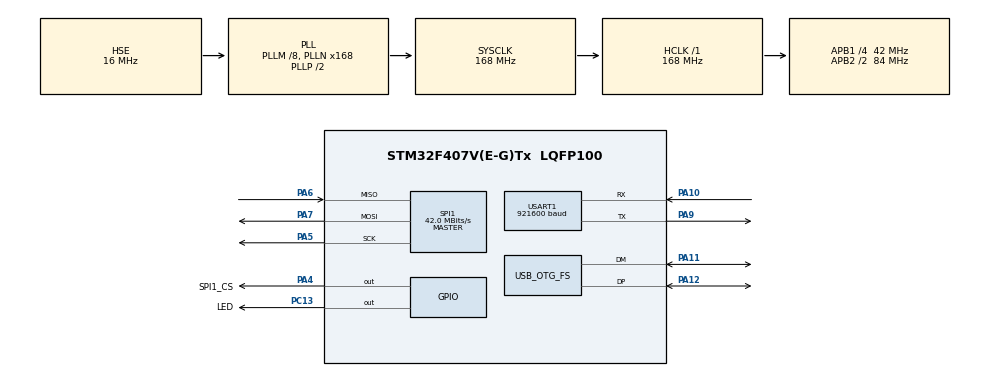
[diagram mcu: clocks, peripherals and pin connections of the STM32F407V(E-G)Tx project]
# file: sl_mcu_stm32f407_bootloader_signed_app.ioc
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Mcu.Family=STM32F4
Mcu.Name=STM32F407V(E-G)Tx
Mcu.Package=LQFP100
NVIC.OTG_FS_IRQn=true\:0\:0\:false\:false\:true\:true\:true\:true
NVIC.PriorityGroup=NVIC_PRIORITYGROUP_4
PA10.Mode=Asynchronous
PA10.Signal=USART1_RX
PA11.Mode=Device_Only
PA11.Signal=USB_OTG_FS_DM
PA12.Mode=Device_Only
PA12.Signal=USB_OTG_FS_DP
PA13.Mode=Trace_Asynchronous_SW
PA13.Signal=SYS_JTMS-SWDIO
PA14.Mode=Trace_Asynchronous_SW
PA14.Signal=SYS_JTCK-SWCLK
PA4.GPIO_Label=SPI1_CS
PA4.PinState=GPIO_PIN_SET
PA4.Signal=GPIO_Output
PA5.Mode=Full_Duplex_Master
PA5.Signal=SPI1_SCK
PA6.Mode=Full_Duplex_Master
PA6.Signal=SPI1_MISO
PA7.Mode=Full_Duplex_Master
PA7.Signal=SPI1_MOSI
PA9.Mode=Asynchronous
PA9.Signal=USART1_TX
PB3.Mode=Trace_Asynchronous_SW
PB3.Signal=SYS_JTDO-SWO
PC13-ANTI_TAMP.GPIO_Label=LED
PC13-ANTI_TAMP.GPIO_ModeDefaultOutputPP=GPIO_MODE_OUTPUT_OD
PC13-ANTI_TAMP.GPIO_PuPd=GPIO_NOPULL
PC13-ANTI_TAMP.PinState=GPIO_PIN_SET
PC13-ANTI_TAMP.Signal=GPIO_Output
PH0-OSC_IN.Mode=HSE-External-Oscillator
PH0-OSC_IN.Signal=RCC_OSC_IN
PH1-OSC_OUT.Mode=HSE-External-Oscillator
PH1-OSC_OUT.Signal=RCC_OSC_OUT
ProjectManager.HeapSize=0x200
ProjectManager.StackSize=0x400
ProjectManager.TargetToolchain=STM32CubeIDE
RCC.48MHZClocksFreq_Value=48000000
RCC.AHBFreq_Value=168000000
RCC.APB1CLKDivider=RCC_HCLK_DIV4
RCC.APB1Freq_Value=42000000
RCC.APB1TimFreq_Value=84000000
RCC.APB2CLKDivider=RCC_HCLK_DIV2
RCC.APB2Freq_Value=84000000
RCC.APB2TimFreq_Value=168000000
RCC.CortexFreq_Value=168000000
RCC.HCLKFreq_Value=168000000
RCC.HSE_VALUE=16000000
RCC.HSI_VALUE=16000000
RCC.LSE_VALUE=32768
RCC.PLLM=8
RCC.PLLN=168
RCC.PLLQ=7
RCC.SYSCLKFreq_VALUE=168000000
RCC.SYSCLKSource=RCC_SYSCLKSOURCE_PLLCLK
RCC.VCOOutputFreq_Value=336000000
SPI1.CalculateBaudRate=42.0 MBits/s
SPI1.Direction=SPI_DIRECTION_2LINES
SPI1.Mode=SPI_MODE_MASTER
SPI1.VirtualType=VM_MASTER
USART1.BaudRate=921600
USART1.OverSampling=UART_OVERSAMPLING_8
USART1.VirtualMode=VM_ASYNC
USB_OTG_FS.VirtualMode=Device_Only
VP_MBEDTLS_VS_MBEDTLS.Mode=Enabled
board=custom

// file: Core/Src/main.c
/* USER CODE BEGIN Header */
/**
 ******************************************************************************
 * @file           : main.c
 * @brief          : Main program body
 ******************************************************************************
 * @attention
 *
 * Copyright (c) 2026 STM32World <lth@stm32world.com>
 * All rights reserved.
 *
 * This software is licensed under terms that can be found in the LICENSE file
 * in the root directory of this software component.
 * If no LICENSE file comes with this software, it is provided AS-IS.
 *
 ******************************************************************************
 */
/* USER CODE END Header */
#include "main.h"
#include "mbedtls.h"

/* USER CODE BEGIN Includes */
#include <stdio.h>
#include <string.h>
#include <stdbool.h>
#include "w25qxx.h"
#include "tusb.h"

#include "mbedtls/md.h"
#include "mbedtls/pk.h"
#include "mbedtls/bignum.h"
#include "mbedtls/asn1write.h"
/* USER CODE END Includes */

/* USER CODE BEGIN PTD */

typedef struct {
    uint32_t magic;          // 4 bytes: Magic identifier (e.g. 0x4150504B / "KAPP")
    uint32_t payload_len;    // 4 bytes: Size of binary firmware in bytes
    uint8_t signature[64];  // 64 bytes: ECDSA raw signature (32-byte R + 32-byte S)
    uint8_t reserved[56];   // 56 bytes: Zero padding to align header to 128 bytes
} Header128_t;

/* USER CODE END PTD */

/* USER CODE BEGIN PD */
#define CHUNK_SIZE 512
#define DFU_BOOT_FLAG 0xDEADBEEF
#define FIRMWARE_MAGIC 0x4150504B
/* USER CODE END PD */

SPI_HandleTypeDef hspi1;

UART_HandleTypeDef huart1;

PCD_HandleTypeDef hpcd_USB_OTG_FS;

/* USER CODE BEGIN PV */

extern int _bflag;
volatile static uint32_t *dfu_boot_flag;

W25QXX_HandleTypeDef w25qxx;

static uint32_t dfu_bytes_received = 0;
static uint32_t last_erased_sector_addr = 0xFFFFFFFF;

static uint8_t do_boot = 0;

static const char *PUBLIC_KEY_PEM =
        "-----BEGIN PUBLIC KEY-----\n"
                "MFkwEwYHKoZIzj0CAQYIKoZIzj0DAQcDQgAE/TvaaBFk8lA2UK6vEFBSNEIluTsx\n"
                "vgLjSyEFtuQmGuPXHu4Qaa7d4DkQgQ1cXTG1jOtfXUym4S4ddeaSyJtTGg==\n"
                "-----END PUBLIC KEY-----\n";
/* USER CODE END PV */

void SystemClock_Config(void);
static void MX_GPIO_Init(void);
static void MX_USART1_UART_Init(void);
static void MX_SPI1_Init(void);
static void MX_USB_OTG_FS_PCD_Init(void);
/* USER CODE BEGIN PFP */
bool verify_flash_firmware_stream(uint32_t flash_payload_addr, size_t payload_len, const uint8_t *raw_sig);
/* USER CODE END PFP */

/* USER CODE BEGIN 0 */

// Send printf to uart1
int __io_putchar(int ch) {
    if (ch == '\n') {
        HAL_UART_Transmit(&huart1, (uint8_t*) "\r", 1, HAL_MAX_DELAY);
    }
    if (HAL_UART_Transmit(&huart1, (uint8_t*) &ch, 1, HAL_MAX_DELAY) != HAL_OK) {
        return -1;
    }
    return ch;
}

/**
 * @brief Convert raw 64-byte (32-byte R + 32-byte S) ECDSA signature to ASN.1 DER format
 */
static size_t raw_sig_to_der(const uint8_t *raw_sig, uint8_t *der_buf, size_t der_buf_size) {
    int ret = 0;
    unsigned char *p = der_buf + der_buf_size;
    size_t len = 0;

    mbedtls_mpi r, s;
    mbedtls_mpi_init(&r);
    mbedtls_mpi_init(&s);

    if (mbedtls_mpi_read_binary(&r, raw_sig, 32) == 0 &&
            mbedtls_mpi_read_binary(&s, raw_sig + 32, 32) == 0) {

        MBEDTLS_ASN1_CHK_ADD(len, mbedtls_asn1_write_mpi(&p, der_buf, &s));
        MBEDTLS_ASN1_CHK_ADD(len, mbedtls_asn1_write_mpi(&p, der_buf, &r));
        MBEDTLS_ASN1_CHK_ADD(len, mbedtls_asn1_write_len(&p, der_buf, len));
        MBEDTLS_ASN1_CHK_ADD(len, mbedtls_asn1_write_tag(&p, der_buf, MBEDTLS_ASN1_CONSTRUCTED | MBEDTLS_ASN1_SEQUENCE));

        memmove(der_buf, p, len);
    } else {
        ret = -1;
    }

    mbedtls_mpi_free(&r);
    mbedtls_mpi_free(&s);

    return (ret < 0) ? 0 : len;
}

/**
 * @brief Streams firmware payload from flash through SHA-256 and verifies ECDSA signature
 */
bool verify_flash_firmware_stream(uint32_t flash_payload_addr, size_t payload_len, const uint8_t *raw_sig) {
    uint8_t ram_buffer[CHUNK_SIZE];
    uint8_t hash[32];
    uint8_t der_sig[80];

    size_t der_len = raw_sig_to_der(raw_sig, der_sig, sizeof(der_sig));
    if (der_len == 0) {
        printf("[VERIFY] Failed to format signature to ASN.1 DER\n");
        return false;
    }

    mbedtls_md_context_t md_ctx;
    mbedtls_pk_context pk_ctx;

    mbedtls_md_init(&md_ctx);
    mbedtls_pk_init(&pk_ctx);

    int ret = -1;

    do {
        const mbedtls_md_info_t *md_info = mbedtls_md_info_from_type(MBEDTLS_MD_SHA256);
        if ((ret = mbedtls_md_setup(&md_ctx, md_info, 0)) != 0)
            break;
        if ((ret = mbedtls_md_starts(&md_ctx)) != 0)
            break;

        size_t bytes_remaining = payload_len;
        uint32_t current_flash_addr = flash_payload_addr;

        while (bytes_remaining > 0) {
            size_t bytes_to_read = (bytes_remaining < CHUNK_SIZE) ? bytes_remaining : CHUNK_SIZE;

            w25qxx_read(&w25qxx, current_flash_addr, ram_buffer, bytes_to_read);

            if ((ret = mbedtls_md_update(&md_ctx, ram_buffer, bytes_to_read)) != 0)
                break;

            current_flash_addr += bytes_to_read;
            bytes_remaining -= bytes_to_read;
        }
        if (ret != 0)
            break;

        if ((ret = mbedtls_md_finish(&md_ctx, hash)) != 0)
            break;

        ret = mbedtls_pk_parse_public_key(&pk_ctx, (const uint8_t*) PUBLIC_KEY_PEM, strlen(PUBLIC_KEY_PEM) + 1);
        if (ret != 0) {
            printf("[VERIFY] Public key parse failed: -0x%04X\n", -ret);
            break;
        }

        ret = mbedtls_pk_verify(&pk_ctx, MBEDTLS_MD_SHA256, hash, sizeof(hash), der_sig, der_len);
    } while (0);

    mbedtls_md_free(&md_ctx);
    mbedtls_pk_free(&pk_ctx);

    if (ret == 0) {
        return true;
    } else {
        printf("[VERIFY] Verification failed! Error code: -0x%04X\n", -ret);
        return false;
    }
}

//--------------------------------------------------------------------+
// DFU Callbacks
//--------------------------------------------------------------------+

void tud_dfu_download_cb(uint8_t alt, uint16_t block_num, uint8_t const *data, uint16_t length) {
    (void) alt;

    uint32_t flash_addr = block_num * CFG_TUD_DFU_XFER_BUFSIZE;

    if (block_num == 0) {
        dfu_bytes_received = 0;
        last_erased_sector_addr = 0xFFFFFFFF;
        printf("\n[DFU] Download started...\n");

        // Since first block - let's check the magic marker is as expected or fail immediately
        if (length > 0) {
            uint32_t *magic = (uint32_t*) data;
            if (*magic != FIRMWARE_MAGIC) {
                printf("Magic failed = 0x%lx\n", *magic);
                tud_dfu_finish_flashing(DFU_STATUS_ERR_VERIFY);
            }
        }

    }

    if (length > 0) {

        uint32_t current_sector = flash_addr & ~(w25qxx.sector_size - 1);

        if (current_sector != last_erased_sector_addr) {
            w25qxx_erase(&w25qxx, current_sector, w25qxx.sector_size);
            last_erased_sector_addr = current_sector;
        }

        w25qxx_write(&w25qxx, flash_addr, (uint8_t*) data, length);
        dfu_bytes_received += length;
        printf("[DFU] Block %u written (%u bytes) at 0x%08lX\n", block_num, length, flash_addr);
    }

    tud_dfu_finish_flashing(DFU_STATUS_OK);
}

void tud_dfu_get_status_cb(uint8_t alt, uint8_t *status) {
    (void) alt;
    status[0] = DFU_STATUS_OK;
    status[1] = 0;
    status[2] = 0;
    status[3] = 0;
    status[4] = DFU_DNLOAD_IDLE;
    status[5] = 0;
}

uint32_t tud_dfu_get_timeout_cb(uint8_t alt, uint8_t state) {
    (void) alt;
    if (state == DFU_DNBUSY)
        return 10;
    return 0;
}

void tud_dfu_manifest_cb(uint8_t alt) {
    (void) alt;
    printf("[DFU] Download complete! Total received: %lu bytes.\n", dfu_bytes_received);

    Header128_t header;

    w25qxx_read(&w25qxx, 0x00000000, (uint8_t*) &header, sizeof(Header128_t));

    char magic_str[5] = { 0 };
    memcpy(magic_str, &header.magic, 4);

    printf("\n================ Header Info ================\n");
    printf("Magic Raw          : 0x%08lX\n", header.magic);
    printf("Magic ASCII        : %s\n", magic_str);
    printf("Payload Size       : %lu bytes\n", header.payload_len);

    printf("Signature (R)      : ");
    for (int i = 0; i < 32; i++) {
        printf("%02X", header.signature[i]);
    }
    printf("\n");

    printf("Signature (S)      : ");
    for (int i = 0; i < 32; i++) {
        printf("%02X", header.signature[32 + i]);
    }
    printf("\n");
    printf("=============================================\n");

    if (header.magic != 0x4150504B) {
        printf("[DFU] ERROR: Invalid Header Magic Identifier!\n\n");
        tud_dfu_finish_flashing(DFU_STATUS_ERR_FILE);
        return;
    }

    printf("[DFU] Verifying ECDSA SECP256R1 signature...\n");
    if (verify_flash_firmware_stream(sizeof(Header128_t), header.payload_len, header.signature)) {
        printf("[DFU] SUCCESS: Firmware signature VALID!\n\n");
        tud_dfu_finish_flashing(DFU_STATUS_OK);

        // Reboot into bootloader
        do_boot = 1;

    } else {
        printf("[DFU] ERROR: Firmware signature INVALID!\n\n");
        tud_dfu_finish_flashing(DFU_STATUS_ERR_VERIFY);
    }
}

void tud_dfu_runtime_reboot_to_dfu_cb(void) {

}

/* USER CODE END 0 */

int main(void)
{

    /* USER CODE BEGIN 1 */
    dfu_boot_flag = (uint32_t*) (&_bflag); // set in linker script
    /* USER CODE END 1 */

    /* MCU Configuration--------------------------------------------------------*/

    /* Reset of all peripherals, Initializes the Flash interface and the Systick. */
    HAL_Init();

    /* Configure the system clock */
    SystemClock_Config();

    /* Initialize all configured peripherals */
    MX_GPIO_Init();
    MX_USART1_UART_Init();
    MX_SPI1_Init();
    MX_USB_OTG_FS_PCD_Init();
    MX_MBEDTLS_Init();
    /* USER CODE BEGIN 2 */

    printf("\n\n\n\n--------\nApplication test\n");

    if (w25qxx_init(&w25qxx, &hspi1, SPI1_CS_GPIO_Port, SPI1_CS_Pin) != W25QXX_Ok) {
        printf("W25QXX Error");
        Error_Handler();
    }

    printf("W25QXX successfully initialized\n");
    printf("Manufacturer       = 0x%2x\n", w25qxx.manufacturer_id);
    printf("Device             = 0x%4x\n", w25qxx.device_id);
    printf("Block size         = 0x%04lx (%lu)\n", w25qxx.block_size, w25qxx.block_size);
    printf("Block count        = 0x%04lx (%lu)\n", w25qxx.block_count, w25qxx.block_count);
    printf("Sector size        = 0x%04lx (%lu)\n", w25qxx.sector_size, w25qxx.sector_size);
    printf("Sectors per block  = 0x%04lx (%lu)\n", w25qxx.sectors_in_block, w25qxx.sectors_in_block);
    printf("Page size          = 0x%04lx (%lu)\n", w25qxx.page_size, w25qxx.page_size);
    printf("Pages per sector   = 0x%04lx (%lu)\n", w25qxx.pages_in_sector, w25qxx.pages_in_sector);
    printf("Total size (in kB) = 0x%04lx (%lu)\n", (w25qxx.block_count * w25qxx.block_size) / 1024, (w25qxx.block_count * w25qxx.block_size) / 1024);

    tusb_init();

    /* USER CODE END 2 */

    /* Infinite loop */
    /* USER CODE BEGIN WHILE */

    register uint32_t now = 0, loop_cnt = 0, next_blink = 500, next_tick = 1000;

    while (1) {

        now = uwTick;

        if (do_boot) {
            // Wait a bit until the dfu usb is finished
            uint32_t wait_end = uwTick + 1500;
            while (uwTick <= wait_end) {
                tud_task();
            }

            // Boot into the bootloader
            *dfu_boot_flag = DFU_BOOT_FLAG;
            HAL_NVIC_SystemReset();
        }

        if (now >= next_blink) {
            HAL_GPIO_TogglePin(LED_GPIO_Port, LED_Pin);
            next_blink += 500;
        }

        if (now >= next_tick) {

            printf("Tick %lu (loop = %lu)\n", now / 1000, loop_cnt);

            loop_cnt = 0;
            next_tick = now + 1000;
        }

        tud_task();

        ++loop_cnt;

        /* USER CODE END WHILE */

    }
}

void SystemClock_Config(void)
{
    RCC_OscInitTypeDef RCC_OscInitStruct = { 0 };
    RCC_ClkInitTypeDef RCC_ClkInitStruct = { 0 };

    /** Configure the main internal regulator output voltage
     */
    __HAL_RCC_PWR_CLK_ENABLE();
    __HAL_PWR_VOLTAGESCALING_CONFIG(PWR_REGULATOR_VOLTAGE_SCALE1);

    /** Initializes the RCC Oscillators according to the specified parameters
     * in the RCC_OscInitTypeDef structure.
     */
    RCC_OscInitStruct.OscillatorType = RCC_OSCILLATORTYPE_HSE;
    RCC_OscInitStruct.HSEState = RCC_HSE_ON;
    RCC_OscInitStruct.PLL.PLLState = RCC_PLL_ON;
    RCC_OscInitStruct.PLL.PLLSource = RCC_PLLSOURCE_HSE;
    RCC_OscInitStruct.PLL.PLLM = 8;
    RCC_OscInitStruct.PLL.PLLN = 168;
    RCC_OscInitStruct.PLL.PLLP = RCC_PLLP_DIV2;
    RCC_OscInitStruct.PLL.PLLQ = 7;
    if (HAL_RCC_OscConfig(&RCC_OscInitStruct) != HAL_OK)
            {
        Error_Handler();
    }

    /** Initializes the CPU, AHB and APB buses clocks
     */
    RCC_ClkInitStruct.ClockType = RCC_CLOCKTYPE_HCLK | RCC_CLOCKTYPE_SYSCLK
            | RCC_CLOCKTYPE_PCLK1 | RCC_CLOCKTYPE_PCLK2;
    RCC_ClkInitStruct.SYSCLKSource = RCC_SYSCLKSOURCE_PLLCLK;
    RCC_ClkInitStruct.AHBCLKDivider = RCC_SYSCLK_DIV1;
    RCC_ClkInitStruct.APB1CLKDivider = RCC_HCLK_DIV4;
    RCC_ClkInitStruct.APB2CLKDivider = RCC_HCLK_DIV2;

    if (HAL_RCC_ClockConfig(&RCC_ClkInitStruct, FLASH_LATENCY_5) != HAL_OK)
            {
        Error_Handler();
    }
}

static void MX_SPI1_Init(void)
{

    /* SPI1 parameter configuration*/
    hspi1.Instance = SPI1;
    hspi1.Init.Mode = SPI_MODE_MASTER;
    hspi1.Init.Direction = SPI_DIRECTION_2LINES;
    hspi1.Init.DataSize = SPI_DATASIZE_8BIT;
    hspi1.Init.CLKPolarity = SPI_POLARITY_LOW;
    hspi1.Init.CLKPhase = SPI_PHASE_1EDGE;
    hspi1.Init.NSS = SPI_NSS_SOFT;
    hspi1.Init.BaudRatePrescaler = SPI_BAUDRATEPRESCALER_2;
    hspi1.Init.FirstBit = SPI_FIRSTBIT_MSB;
    hspi1.Init.TIMode = SPI_TIMODE_DISABLE;
    hspi1.Init.CRCCalculation = SPI_CRCCALCULATION_DISABLE;
    hspi1.Init.CRCPolynomial = 10;
    if (HAL_SPI_Init(&hspi1) != HAL_OK)
            {
        Error_Handler();
    }

}

static void MX_USART1_UART_Init(void)
{

    huart1.Instance = USART1;
    huart1.Init.BaudRate = 921600;
    huart1.Init.WordLength = UART_WORDLENGTH_8B;
    huart1.Init.StopBits = UART_STOPBITS_1;
    huart1.Init.Parity = UART_PARITY_NONE;
    huart1.Init.Mode = UART_MODE_TX_RX;
    huart1.Init.HwFlowCtl = UART_HWCONTROL_NONE;
    huart1.Init.OverSampling = UART_OVERSAMPLING_8;
    if (HAL_UART_Init(&huart1) != HAL_OK)
            {
        Error_Handler();
    }

}

static void MX_USB_OTG_FS_PCD_Init(void)
{

    hpcd_USB_OTG_FS.Instance = USB_OTG_FS;
    hpcd_USB_OTG_FS.Init.dev_endpoints = 4;
    hpcd_USB_OTG_FS.Init.speed = PCD_SPEED_FULL;
    hpcd_USB_OTG_FS.Init.dma_enable = DISABLE;
    hpcd_USB_OTG_FS.Init.phy_itface = PCD_PHY_EMBEDDED;
    hpcd_USB_OTG_FS.Init.Sof_enable = DISABLE;
    hpcd_USB_OTG_FS.Init.low_power_enable = DISABLE;
    hpcd_USB_OTG_FS.Init.lpm_enable = DISABLE;
    hpcd_USB_OTG_FS.Init.vbus_sensing_enable = DISABLE;
    hpcd_USB_OTG_FS.Init.use_dedicated_ep1 = DISABLE;
    if (HAL_PCD_Init(&hpcd_USB_OTG_FS) != HAL_OK)
            {
        Error_Handler();
    }

}

static void MX_GPIO_Init(void)
{
    GPIO_InitTypeDef GPIO_InitStruct = { 0 };

    /* GPIO Ports Clock Enable */
    __HAL_RCC_GPIOC_CLK_ENABLE();
    __HAL_RCC_GPIOH_CLK_ENABLE();
    __HAL_RCC_GPIOA_CLK_ENABLE();
    __HAL_RCC_GPIOB_CLK_ENABLE();

    /*Configure GPIO pin Output Level */
    HAL_GPIO_WritePin(LED_GPIO_Port, LED_Pin, GPIO_PIN_SET);

    /*Configure GPIO pin Output Level */
    HAL_GPIO_WritePin(SPI1_CS_GPIO_Port, SPI1_CS_Pin, GPIO_PIN_SET);

    /*Configure GPIO pin : LED_Pin */
    GPIO_InitStruct.Pin = LED_Pin;
    GPIO_InitStruct.Mode = GPIO_MODE_OUTPUT_OD;
    GPIO_InitStruct.Pull = GPIO_NOPULL;
    GPIO_InitStruct.Speed = GPIO_SPEED_FREQ_LOW;
    HAL_GPIO_Init(LED_GPIO_Port, &GPIO_InitStruct);

    /*Configure GPIO pin : SPI1_CS_Pin */
    GPIO_InitStruct.Pin = SPI1_CS_Pin;
    GPIO_InitStruct.Mode = GPIO_MODE_OUTPUT_PP;
    GPIO_InitStruct.Pull = GPIO_NOPULL;
    GPIO_InitStruct.Speed = GPIO_SPEED_FREQ_LOW;
    HAL_GPIO_Init(SPI1_CS_GPIO_Port, &GPIO_InitStruct);

}

void Error_Handler(void)
{
    __disable_irq();
    while (1)
    {
    }
}
